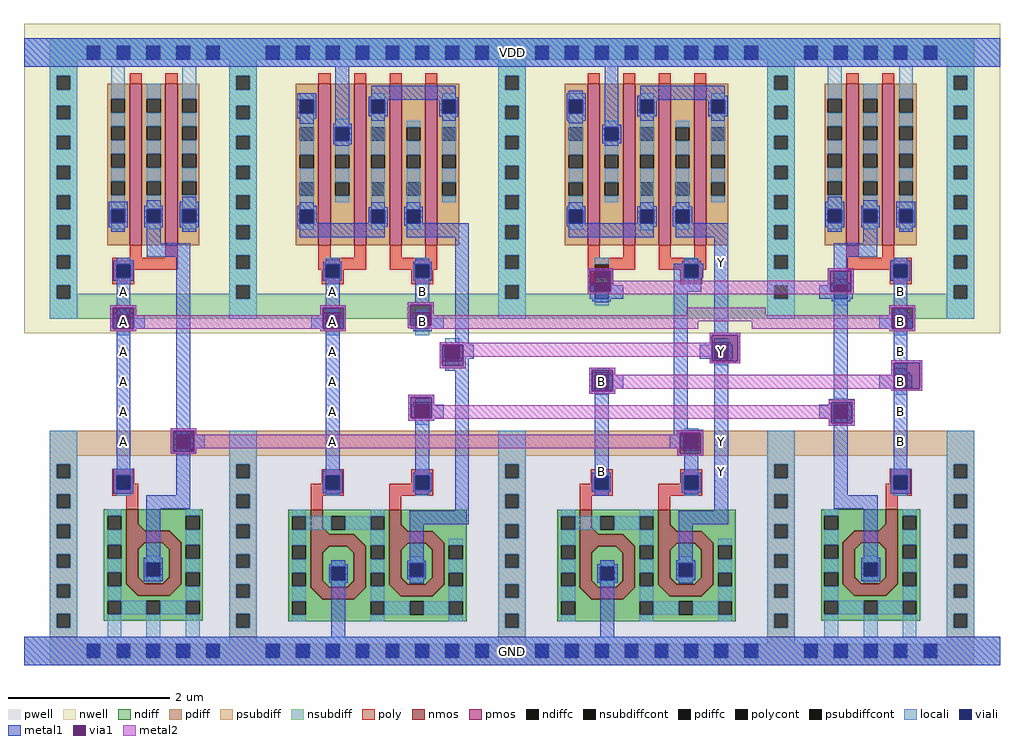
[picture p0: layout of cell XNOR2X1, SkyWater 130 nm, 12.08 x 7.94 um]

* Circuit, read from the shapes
.subckt XNOR2X1 Y A B VDD GND
XM1 GND A n1 GND sky130_fd_pr__nfet_01v8 w=2.56 l=0.1473
XM2 n2 A GND GND sky130_fd_pr__nfet_01v8 w=2.6 l=0.1497
XM3 n2 n3 Y GND sky130_fd_pr__nfet_01v8 w=2.56 l=0.1467
XM4 n4 B GND GND sky130_fd_pr__nfet_01v8 w=2.6 l=0.1483
XM5 n4 n1 Y GND sky130_fd_pr__nfet_01v8 w=2.56 l=0.1465
XM6 GND B n3 GND sky130_fd_pr__nfet_01v8 w=2.56 l=0.1475
XM7 n1 A VDD VDD sky130_fd_pr__pfet_01v8 w=2 l=0.15 m=2
XM8 VDD A n5 VDD sky130_fd_pr__pfet_01v8 w=2 l=0.15 m=2
XM9 Y B n5 VDD sky130_fd_pr__pfet_01v8 w=2 l=0.15 m=2
XM10 VDD n3 n6 VDD sky130_fd_pr__pfet_01v8 w=2 l=0.15 m=2
XM11 Y n1 n6 VDD sky130_fd_pr__pfet_01v8 w=2 l=0.15 m=2
XM12 n3 B VDD VDD sky130_fd_pr__pfet_01v8 w=2 l=0.15 m=2
.ends

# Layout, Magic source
magic
tech sky130A
magscale 1 2
<< nwell >>
rect 0 822 2416 1588
<< pwell >>
rect 155 19 189 53
rect 64 0 2352 9
<< psubdiff >>
rect 64 0 2352 9
<< nsubdiff >>
rect 64 1549 2352 1552
<< locali >>
rect 0 1482 2416 1552
rect 0 0 2416 70
<< metal1 >>
rect 0 1482 2416 1552
rect 1709 981 1743 1015
rect 229 907 263 941
rect 747 907 781 941
rect 969 907 1003 941
rect 2153 907 2187 941
rect 229 833 263 867
rect 747 833 781 867
rect 969 833 1003 867
rect 2153 833 2187 867
rect 229 759 263 793
rect 747 759 781 793
rect 1709 759 1743 793
rect 2153 759 2187 793
rect 229 685 263 719
rect 747 685 781 719
rect 1413 685 1447 719
rect 2153 685 2187 719
rect 229 611 263 645
rect 747 611 781 645
rect 2153 611 2187 645
rect 229 537 263 571
rect 747 537 781 571
rect 1709 537 1743 571
rect 2153 537 2187 571
rect 1413 463 1447 497
rect 1709 463 1743 497
rect 0 0 2416 70
use xnor2x1_pcell  xnor2x1_pcell_0
transform 1 0 98 0 1 36
box -87 -34 2307 1550
<< labels >>
rlabel metal1 1709 759 1743 793 1 Y
port 1 nsew signal output
rlabel metal1 1709 537 1743 571 1 Y
port 1 nsew signal output
rlabel metal1 1709 463 1743 497 1 Y
port 1 nsew signal output
rlabel metal1 1709 981 1743 1015 1 Y
port 1 nsew signal output
rlabel metal1 229 907 263 941 1 A
port 2 nsew signal input
rlabel metal1 229 833 263 867 1 A
port 2 nsew signal input
rlabel metal1 229 759 263 793 1 A
port 2 nsew signal input
rlabel metal1 229 685 263 719 1 A
port 2 nsew signal input
rlabel metal1 229 611 263 645 1 A
port 2 nsew signal input
rlabel metal1 229 537 263 571 1 A
port 2 nsew signal input
rlabel metal1 747 537 781 571 1 A
port 2 nsew signal input
rlabel metal1 747 611 781 645 1 A
port 2 nsew signal input
rlabel metal1 747 685 781 719 1 A
port 2 nsew signal input
rlabel metal1 747 759 781 793 1 A
port 2 nsew signal input
rlabel metal1 747 833 781 867 1 A
port 2 nsew signal input
rlabel metal1 747 907 781 941 1 A
port 2 nsew signal input
rlabel metal1 2153 685 2187 719 1 B
port 3 nsew signal input
rlabel metal1 2153 611 2187 645 1 B
port 3 nsew signal input
rlabel metal1 2153 759 2187 793 1 B
port 3 nsew signal input
rlabel metal1 2153 537 2187 571 1 B
port 3 nsew signal input
rlabel metal1 2153 833 2187 867 1 B
port 3 nsew signal input
rlabel metal1 2153 907 2187 941 1 B
port 3 nsew signal input
rlabel metal1 969 833 1003 867 1 B
port 3 nsew signal input
rlabel metal1 1413 685 1447 719 1 B
port 3 nsew signal input
rlabel metal1 1413 463 1447 497 1 B
port 3 nsew signal input
rlabel metal1 969 907 1003 941 1 B
port 3 nsew signal input
rlabel metal1 0 1482 2416 1552 1 VDD
port 4 nsew power bidirectional abutment
rlabel metal1 0 0 2416 70 1 GND
port 5 nsew ground bidirectional abutment
<< properties >>
string FIXED_BBOX 0 0 2416 1552
string LEFclass CORE
string LEFsite unitrh
string LEFsymmetry X Y
<< end >>

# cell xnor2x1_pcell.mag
magic
tech sky130A
magscale 1 2
<< nwell >>
rect 531 1532 1689 1550
rect 528 1514 1026 1532
rect 1194 1514 1692 1532
rect 478 1446 1076 1514
rect 1144 1446 1742 1514
rect 528 1439 1026 1446
rect 528 968 539 1439
rect 585 1330 619 1364
rect 1015 968 1026 1439
rect 528 825 1026 968
rect 1194 1440 1692 1446
rect 1194 968 1205 1440
rect 1681 968 1692 1440
rect 1194 825 1692 968
rect 531 786 1689 825
<< pwell >>
rect -34 -34 2254 544
<< pdiff >>
rect 761 1092 795 1194
rect 1427 1092 1461 1194
rect 761 1042 795 1058
rect 1427 1042 1461 1058
<< pdiffc >>
rect 585 1330 619 1364
rect 761 1330 795 1364
rect 937 1330 971 1364
rect 1251 1330 1285 1364
rect 1427 1330 1461 1364
rect 1603 1330 1637 1364
rect 585 1058 619 1092
rect 761 1058 795 1092
rect 849 1058 883 1092
rect 1251 1058 1285 1092
rect 1427 1058 1461 1092
rect 1515 1058 1549 1092
<< psubdiff >>
rect 478 482 1079 544
rect 1141 482 1742 544
rect 478 -17 501 17
rect 535 -17 575 17
rect 609 -17 649 17
rect 683 -17 723 17
rect 757 -17 797 17
rect 831 -17 871 17
rect 905 -17 945 17
rect 979 -17 1019 17
rect 1053 -17 1076 17
rect 478 -34 1076 -17
rect 1144 -17 1167 17
rect 1201 -17 1241 17
rect 1275 -17 1315 17
rect 1349 -17 1389 17
rect 1423 -17 1463 17
rect 1497 -17 1537 17
rect 1571 -17 1611 17
rect 1645 -17 1685 17
rect 1719 -17 1742 17
rect 1144 -34 1742 -17
<< nsubdiff >>
rect 478 1497 1076 1514
rect 478 1463 501 1497
rect 535 1463 575 1497
rect 609 1463 649 1497
rect 683 1463 723 1497
rect 757 1463 797 1497
rect 831 1463 871 1497
rect 905 1463 945 1497
rect 979 1463 1019 1497
rect 1053 1463 1076 1497
rect 1144 1497 1742 1514
rect 1144 1463 1167 1497
rect 1201 1463 1241 1497
rect 1275 1463 1315 1497
rect 1349 1463 1389 1497
rect 1423 1463 1463 1497
rect 1497 1463 1537 1497
rect 1571 1463 1611 1497
rect 1645 1463 1685 1497
rect 1719 1463 1742 1497
rect 478 822 1079 884
rect 1141 822 1742 884
<< psubdiffcont >>
rect 501 -17 535 17
rect 575 -17 609 17
rect 649 -17 683 17
rect 723 -17 757 17
rect 797 -17 831 17
rect 871 -17 905 17
rect 945 -17 979 17
rect 1019 -17 1053 17
rect 1167 -17 1201 17
rect 1241 -17 1275 17
rect 1315 -17 1349 17
rect 1389 -17 1423 17
rect 1463 -17 1497 17
rect 1537 -17 1571 17
rect 1611 -17 1645 17
rect 1685 -17 1719 17
<< nsubdiffcont >>
rect 501 1463 535 1497
rect 575 1463 609 1497
rect 649 1463 683 1497
rect 723 1463 757 1497
rect 797 1463 831 1497
rect 871 1463 905 1497
rect 945 1463 979 1497
rect 1019 1463 1053 1497
rect 1167 1463 1201 1497
rect 1241 1463 1275 1497
rect 1315 1463 1349 1497
rect 1389 1463 1423 1497
rect 1463 1463 1497 1497
rect 1537 1463 1571 1497
rect 1611 1463 1645 1497
rect 1685 1463 1719 1497
<< poly >>
rect 612 383 639 413
rect 806 383 861 413
rect 1278 383 1305 413
rect 1472 383 1527 413
rect 612 375 642 383
rect 806 382 836 383
rect 1278 375 1308 383
rect 1472 382 1502 383
<< locali >>
rect 127 1497 1754 1514
rect 127 1463 501 1497
rect 535 1463 575 1497
rect 609 1463 649 1497
rect 683 1463 723 1497
rect 757 1463 797 1497
rect 831 1463 871 1497
rect 905 1463 945 1497
rect 979 1463 1019 1497
rect 1053 1463 1167 1497
rect 1201 1463 1241 1497
rect 1275 1463 1315 1497
rect 1349 1463 1389 1497
rect 1423 1463 1463 1497
rect 1497 1463 1537 1497
rect 1571 1463 1611 1497
rect 1645 1463 1685 1497
rect 1719 1463 1754 1497
rect 127 1446 1754 1463
rect 585 1364 619 1380
rect 585 1228 619 1330
rect 761 1364 795 1380
rect 673 1296 707 1317
rect 673 1228 707 1262
rect 761 1228 795 1330
rect 937 1364 971 1380
rect 937 1228 971 1330
rect 1251 1364 1285 1380
rect 1251 1228 1285 1330
rect 1427 1364 1461 1380
rect 1427 1228 1461 1330
rect 1603 1364 1637 1380
rect 1603 1228 1637 1330
rect 585 1092 619 1194
rect 585 1042 619 1058
rect 761 1092 795 1194
rect 761 1042 795 1058
rect 849 1092 883 1194
rect 849 1042 883 1058
rect 1251 1092 1285 1111
rect 1251 1042 1285 1058
rect 1427 1092 1461 1194
rect 1427 1041 1461 1058
rect 1515 1092 1549 1194
rect 1515 1042 1549 1058
rect 387 17 1827 34
rect 387 -17 501 17
rect 535 -17 575 17
rect 609 -17 649 17
rect 683 -17 723 17
rect 757 -17 797 17
rect 831 -17 871 17
rect 905 -17 945 17
rect 979 -17 1019 17
rect 1053 -17 1167 17
rect 1201 -17 1241 17
rect 1275 -17 1315 17
rect 1349 -17 1389 17
rect 1423 -17 1463 17
rect 1497 -17 1537 17
rect 1571 -17 1611 17
rect 1645 -17 1685 17
rect 1719 -17 1827 17
rect 387 -34 1827 -17
<< viali >>
rect 501 1463 535 1497
rect 575 1463 609 1497
rect 649 1463 683 1497
rect 723 1463 757 1497
rect 797 1463 831 1497
rect 871 1463 905 1497
rect 945 1463 979 1497
rect 1019 1463 1053 1497
rect 1167 1463 1201 1497
rect 1241 1463 1275 1497
rect 1315 1463 1349 1497
rect 1389 1463 1423 1497
rect 1463 1463 1497 1497
rect 1537 1463 1571 1497
rect 1611 1463 1645 1497
rect 1685 1463 1719 1497
rect 585 1330 619 1364
rect 761 1330 795 1364
rect 673 1262 707 1296
rect 937 1330 971 1364
rect 1251 1330 1285 1364
rect 1427 1330 1461 1364
rect 1339 1262 1373 1296
rect 1603 1330 1637 1364
rect 585 1058 619 1092
rect 761 1058 795 1092
rect 849 1058 883 1092
rect 1251 1058 1285 1092
rect 1427 1058 1461 1092
rect 1515 1058 1549 1092
rect 131 923 165 957
rect 649 923 683 957
rect 871 923 905 957
rect 1537 923 1571 957
rect 649 399 683 433
rect 871 399 905 433
rect 1315 399 1349 433
rect 1537 399 1571 433
rect 663 174 697 208
rect 857 183 891 217
rect 1329 174 1363 208
rect 1523 183 1557 217
rect 501 -17 535 17
rect 575 -17 609 17
rect 649 -17 683 17
rect 723 -17 757 17
rect 797 -17 831 17
rect 871 -17 905 17
rect 945 -17 979 17
rect 1019 -17 1053 17
rect 1167 -17 1201 17
rect 1241 -17 1275 17
rect 1315 -17 1349 17
rect 1389 -17 1423 17
rect 1463 -17 1497 17
rect 1537 -17 1571 17
rect 1611 -17 1645 17
rect 1685 -17 1719 17
<< metal1 >>
rect 478 1497 1076 1514
rect 478 1463 501 1497
rect 535 1463 575 1497
rect 609 1463 649 1497
rect 683 1463 723 1497
rect 757 1463 797 1497
rect 831 1463 871 1497
rect 905 1463 945 1497
rect 979 1463 1019 1497
rect 1053 1463 1076 1497
rect 478 1446 1076 1463
rect 1144 1497 1742 1514
rect 1144 1463 1167 1497
rect 1201 1463 1241 1497
rect 1275 1463 1315 1497
rect 1349 1463 1389 1497
rect 1423 1463 1463 1497
rect 1497 1463 1537 1497
rect 1571 1463 1611 1497
rect 1645 1463 1685 1497
rect 1719 1463 1742 1497
rect 1144 1446 1742 1463
rect 579 1364 626 1380
rect 579 1330 585 1364
rect 619 1330 626 1364
rect 579 1317 626 1330
rect 585 1305 619 1317
rect 673 1304 707 1446
rect 761 1371 971 1398
rect 1251 1380 1285 1386
rect 755 1370 971 1371
rect 755 1364 977 1370
rect 755 1330 761 1364
rect 795 1330 802 1364
rect 755 1323 802 1330
rect 930 1330 937 1364
rect 971 1330 977 1364
rect 761 1312 795 1323
rect 930 1322 977 1330
rect 1245 1364 1292 1380
rect 1245 1330 1251 1364
rect 1285 1330 1292 1364
rect 937 1312 971 1322
rect 1245 1312 1292 1330
rect 1251 1306 1285 1312
rect 667 1296 713 1304
rect 1339 1302 1373 1446
rect 1427 1374 1637 1398
rect 1420 1364 1644 1374
rect 1420 1330 1427 1364
rect 1461 1330 1468 1364
rect 1420 1323 1468 1330
rect 1596 1330 1603 1364
rect 1637 1330 1644 1364
rect 1596 1323 1644 1330
rect 1427 1312 1461 1323
rect 1603 1312 1637 1323
rect 667 1262 673 1296
rect 707 1262 713 1296
rect 667 1254 713 1262
rect 1333 1296 1380 1302
rect 1333 1262 1339 1296
rect 1373 1262 1380 1296
rect 1333 1256 1380 1262
rect 673 1250 707 1254
rect 1339 1250 1373 1256
rect 585 1101 619 1110
rect 579 1092 627 1101
rect 761 1098 795 1110
rect 849 1099 883 1110
rect 1251 1100 1285 1110
rect 1427 1100 1461 1110
rect 1515 1100 1549 1110
rect 579 1058 585 1092
rect 619 1058 627 1092
rect 755 1092 802 1098
rect 755 1058 761 1092
rect 795 1058 802 1092
rect 579 1050 802 1058
rect 843 1092 889 1099
rect 843 1058 849 1092
rect 883 1058 889 1092
rect 1245 1092 1291 1100
rect 1245 1058 1251 1092
rect 1285 1058 1291 1092
rect 1420 1092 1468 1100
rect 1420 1058 1427 1092
rect 1461 1058 1468 1092
rect 843 1052 1003 1058
rect 579 1045 795 1050
rect 585 1024 795 1045
rect 849 1024 1003 1052
rect 1245 1049 1468 1058
rect 1508 1092 1556 1100
rect 1508 1058 1515 1092
rect 1549 1058 1556 1092
rect 1508 1049 1645 1058
rect 1251 1024 1461 1049
rect 1515 1024 1645 1049
rect 131 965 165 969
rect 123 957 173 965
rect 649 963 683 969
rect 871 963 905 969
rect 123 923 131 957
rect 165 923 173 957
rect 123 916 173 923
rect 643 957 689 963
rect 643 923 649 957
rect 683 923 689 957
rect 643 916 689 923
rect 865 957 911 963
rect 865 923 871 957
rect 905 923 911 957
rect 865 916 911 923
rect 131 855 165 916
rect 649 855 683 916
rect 871 862 905 916
rect 852 856 916 862
rect 116 849 180 855
rect 116 797 122 849
rect 174 797 180 849
rect 116 791 180 797
rect 635 849 699 855
rect 635 797 641 849
rect 693 797 699 849
rect 852 804 858 856
rect 910 804 916 856
rect 852 798 916 804
rect 635 791 699 797
rect 131 731 165 791
rect 265 545 329 551
rect 265 493 271 545
rect 323 493 329 545
rect 265 487 329 493
rect 649 446 683 791
rect 969 763 1003 1024
rect 1537 965 1571 970
rect 1531 958 1577 965
rect 1511 957 1583 958
rect 1297 941 1361 947
rect 1297 889 1303 941
rect 1355 889 1361 941
rect 1297 883 1361 889
rect 1511 923 1537 957
rect 1571 923 1583 957
rect 1511 889 1579 923
rect 1315 862 1349 883
rect 931 757 1003 763
rect 931 705 937 757
rect 989 723 995 757
rect 989 705 1003 723
rect 931 699 1003 705
rect 945 693 1003 699
rect 853 627 917 633
rect 853 575 859 627
rect 911 609 917 627
rect 853 569 917 575
rect 641 433 691 446
rect 871 441 905 569
rect 641 399 649 433
rect 683 399 691 433
rect 641 390 691 399
rect 865 433 911 441
rect 865 399 871 433
rect 905 399 911 433
rect 865 393 911 399
rect 649 387 683 390
rect 871 386 905 393
rect 969 347 1003 693
rect 1301 694 1365 700
rect 1301 642 1307 694
rect 1359 642 1365 694
rect 1301 636 1365 642
rect 1315 441 1349 636
rect 1511 547 1545 889
rect 1611 787 1645 1024
rect 1892 941 1956 947
rect 1892 889 1898 941
rect 1950 889 1956 941
rect 1892 883 1956 889
rect 1900 871 1905 883
rect 2044 849 2108 855
rect 2044 797 2050 849
rect 2102 797 2108 849
rect 2044 791 2108 797
rect 1599 781 1675 787
rect 1599 717 1605 781
rect 1669 717 1675 781
rect 1599 711 1675 717
rect 2049 713 2125 719
rect 1511 540 1583 547
rect 1511 534 1525 540
rect 1519 488 1525 534
rect 1577 488 1583 540
rect 1519 483 1583 488
rect 1537 441 1571 483
rect 1308 433 1355 441
rect 1308 399 1315 433
rect 1349 399 1355 433
rect 1308 393 1355 399
rect 1530 433 1579 441
rect 1530 399 1537 433
rect 1571 399 1579 433
rect 1315 383 1349 393
rect 1530 391 1579 399
rect 1537 387 1571 391
rect 1611 347 1645 711
rect 2049 649 2055 713
rect 2119 649 2125 713
rect 2049 643 2125 649
rect 1894 615 1958 622
rect 1894 609 1900 615
rect 1894 563 1900 578
rect 1952 563 1958 615
rect 1894 557 1958 563
rect 857 313 1003 347
rect 1523 313 1645 347
rect 663 214 697 224
rect 857 223 891 313
rect 1523 224 1557 313
rect 851 217 897 223
rect 657 208 704 214
rect 657 174 663 208
rect 697 174 704 208
rect 851 183 857 217
rect 891 183 897 217
rect 1329 214 1363 224
rect 1516 217 1563 224
rect 851 177 897 183
rect 1321 208 1372 214
rect 657 168 704 174
rect 663 34 697 168
rect 857 167 891 177
rect 1321 174 1329 208
rect 1363 174 1372 208
rect 1516 183 1523 217
rect 1557 183 1563 217
rect 1516 175 1563 183
rect 1321 168 1372 174
rect 1329 34 1363 168
rect 1523 167 1557 175
rect 478 17 1076 34
rect 478 -17 501 17
rect 535 -17 575 17
rect 609 -17 649 17
rect 683 -17 723 17
rect 757 -17 797 17
rect 831 -17 871 17
rect 905 -17 945 17
rect 979 -17 1019 17
rect 1053 -17 1076 17
rect 478 -34 1076 -17
rect 1144 17 1742 34
rect 1144 -17 1167 17
rect 1201 -17 1241 17
rect 1275 -17 1315 17
rect 1349 -17 1389 17
rect 1423 -17 1463 17
rect 1497 -17 1537 17
rect 1571 -17 1611 17
rect 1645 -17 1685 17
rect 1719 -17 1742 17
rect 1144 -34 1742 -17
<< via1 >>
rect 122 797 174 849
rect 641 797 693 849
rect 858 804 910 856
rect 271 493 323 545
rect 1303 889 1355 941
rect 937 705 989 757
rect 859 575 911 627
rect 1307 642 1359 694
rect 1898 889 1950 941
rect 2050 797 2102 849
rect 1605 717 1669 781
rect 1525 488 1577 540
rect 2055 649 2119 713
rect 1900 563 1952 615
<< metal2 >>
rect 1297 941 1361 947
rect 1297 889 1303 941
rect 1355 916 1361 941
rect 1892 941 1956 947
rect 1892 916 1898 941
rect 1355 889 1898 916
rect 1950 889 1956 941
rect 1297 883 1956 889
rect 852 856 916 862
rect 116 849 180 855
rect 116 797 122 849
rect 174 831 180 849
rect 635 849 699 855
rect 635 831 641 849
rect 174 797 641 831
rect 693 797 699 849
rect 852 804 858 856
rect 910 831 916 856
rect 2044 849 2108 855
rect 1543 831 1738 849
rect 2044 831 2050 849
rect 910 815 2050 831
rect 910 804 1571 815
rect 852 798 1571 804
rect 911 797 1571 798
rect 1703 797 2050 815
rect 2102 797 2108 849
rect 116 791 180 797
rect 635 791 699 797
rect 2044 791 2108 797
rect 1599 781 1675 787
rect 931 762 995 763
rect 1599 762 1605 781
rect 931 757 1605 762
rect 931 705 937 757
rect 989 728 1605 757
rect 989 705 995 728
rect 1599 717 1605 728
rect 1669 717 1675 781
rect 1599 711 1675 717
rect 2049 713 2125 719
rect 931 699 995 705
rect 1301 694 1365 700
rect 1301 642 1307 694
rect 1359 683 1365 694
rect 2049 683 2055 713
rect 1359 649 2055 683
rect 2119 649 2125 713
rect 1359 642 1365 649
rect 2049 643 2125 649
rect 1301 636 1365 642
rect 853 627 917 633
rect 853 575 859 627
rect 911 608 917 627
rect 1894 615 1958 621
rect 1894 608 1900 615
rect 911 575 1900 608
rect 853 574 1900 575
rect 853 569 917 574
rect 1894 563 1900 574
rect 1952 563 1958 615
rect 1894 557 1958 563
rect 265 545 329 551
rect 265 493 271 545
rect 323 535 329 545
rect 1519 540 1583 546
rect 1519 535 1525 540
rect 323 501 1525 535
rect 323 493 329 501
rect 265 487 329 493
rect 1519 488 1525 501
rect 1577 488 1583 540
rect 1519 482 1583 488
use diff_ring_side  diff_ring_side_0
transform 1 0 1110 0 1 0
box -87 -34 87 1550
use diff_ring_side  diff_ring_side_1
transform 1 0 444 0 1 0
box -87 -34 87 1550
use diff_ring_side  diff_ring_side_3
transform 1 0 1776 0 1 0
box -87 -34 87 1550
use invx1_pcell  invx1_pcell_0
transform 1 0 0 0 1 0
box -87 -34 531 1550
use invx1_pcell  invx1_pcell_1
transform -1 0 2220 0 1 0
box -87 -34 531 1550
use li1_M1_contact  li1_M1_contact_0
transform 1 0 666 0 1 814
box -53 -33 29 33
use li1_M1_contact  li1_M1_contact_1
transform -1 0 148 0 -1 814
box -53 -33 29 33
use li1_M1_contact  li1_M1_contact_2
transform 1 0 1924 0 1 592
box -53 -33 29 33
use li1_M1_contact  li1_M1_contact_3
transform -1 0 888 0 -1 814
box -53 -33 29 33
use li1_M1_contact  li1_M1_contact_4
transform -1 0 296 0 -1 518
box -53 -33 29 33
use li1_M1_contact  li1_M1_contact_5
transform 1 0 1554 0 1 518
box -53 -33 29 33
use li1_M1_contact  li1_M1_contact_6
transform -1 0 1332 0 -1 888
box -53 -33 29 33
use li1_M1_contact  li1_M1_contact_7
transform -1 0 962 0 -1 740
box -53 -33 29 33
use li1_M1_contact  li1_M1_contact_8
transform 1 0 1628 0 1 740
box -53 -33 29 33
use li1_M1_contact  li1_M1_contact_9
transform -1 0 888 0 -1 592
box -53 -33 29 33
use li1_M1_contact  li1_M1_contact_10
transform 1 0 2072 0 1 814
box -53 -33 29 33
use li1_M1_contact  li1_M1_contact_11
transform -1 0 1332 0 -1 666
box -53 -33 29 33
use li1_M1_contact  li1_M1_contact_12
transform 1 0 1924 0 1 888
box -53 -33 29 33
use li1_M1_contact  li1_M1_contact_13
transform 1 0 2072 0 1 666
box -53 -33 29 33
use nmos_bottom  nmos_bottom_0
transform -1 0 804 0 1 73
box 0 0 248 302
use nmos_bottom  nmos_bottom_1
transform -1 0 1470 0 1 73
box 0 0 248 302
use nmos_top_trim1  nmos_top_trim1_0
transform -1 0 998 0 1 73
box 0 0 248 309
use nmos_top_trim1  nmos_top_trim1_1
transform -1 0 1664 0 1 73
box 0 0 248 309
use pmos2_1  pmos2_1_0
transform 1 0 487 0 1 1403
box 52 -460 352 37
use pmos2_1  pmos2_1_1
transform 1 0 663 0 1 1403
box 52 -460 352 37
use pmos2_1  pmos2_1_2
transform 1 0 1153 0 1 1403
box 52 -460 352 37
use pmos2_1  pmos2_1_3
transform 1 0 1329 0 1 1403
box 52 -460 352 37
use poly_li1_contact  poly_li1_contact_0
transform 0 1 667 -1 0 941
box -32 -28 34 26
use poly_li1_contact  poly_li1_contact_1
transform 0 1 667 -1 0 417
box -32 -28 34 26
use poly_li1_contact  poly_li1_contact_2
transform 0 1 889 -1 0 417
box -32 -28 34 26
use poly_li1_contact  poly_li1_contact_3
transform 0 1 889 -1 0 941
box -32 -28 34 26
use poly_li1_contact  poly_li1_contact_4
transform 0 1 1333 -1 0 417
box -32 -28 34 26
use poly_li1_contact  poly_li1_contact_5
transform 0 1 1333 -1 0 941
box -32 -28 34 26
use poly_li1_contact  poly_li1_contact_6
transform 0 1 1555 -1 0 417
box -32 -28 34 26
use poly_li1_contact  poly_li1_contact_7
transform 0 1 1555 -1 0 941
box -32 -28 34 26
<< end >>

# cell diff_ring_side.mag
magic
tech sky130A
magscale 1 2
<< nwell >>
rect -87 786 87 1550
<< pwell >>
rect -34 -34 34 544
<< psubdiff >>
rect -34 461 34 544
rect -34 427 -17 461
rect 17 427 34 461
rect -34 387 34 427
rect -34 353 -17 387
rect 17 353 34 387
rect -34 313 34 353
rect -34 279 -17 313
rect 17 279 34 313
rect -34 239 34 279
rect -34 205 -17 239
rect 17 205 34 239
rect -34 165 34 205
rect -34 131 -17 165
rect 17 131 34 165
rect -34 91 34 131
rect -34 57 -17 91
rect 17 57 34 91
rect -34 -34 34 57
<< nsubdiff >>
rect -34 1423 34 1514
rect -34 1389 -17 1423
rect 17 1389 34 1423
rect -34 1349 34 1389
rect -34 1315 -17 1349
rect 17 1315 34 1349
rect -34 1275 34 1315
rect -34 1241 -17 1275
rect 17 1241 34 1275
rect -34 1201 34 1241
rect -34 1167 -17 1201
rect 17 1167 34 1201
rect -34 1127 34 1167
rect -34 1093 -17 1127
rect 17 1093 34 1127
rect -34 1053 34 1093
rect -34 1019 -17 1053
rect 17 1019 34 1053
rect -34 979 34 1019
rect -34 945 -17 979
rect 17 945 34 979
rect -34 905 34 945
rect -34 871 -17 905
rect 17 871 34 905
rect -34 822 34 871
<< psubdiffcont >>
rect -17 427 17 461
rect -17 353 17 387
rect -17 279 17 313
rect -17 205 17 239
rect -17 131 17 165
rect -17 57 17 91
<< nsubdiffcont >>
rect -17 1389 17 1423
rect -17 1315 17 1349
rect -17 1241 17 1275
rect -17 1167 17 1201
rect -17 1093 17 1127
rect -17 1019 17 1053
rect -17 945 17 979
rect -17 871 17 905
<< locali >>
rect -34 1423 34 1514
rect -34 1389 -17 1423
rect 17 1389 34 1423
rect -34 1349 34 1389
rect -34 1315 -17 1349
rect 17 1315 34 1349
rect -34 1275 34 1315
rect -34 1241 -17 1275
rect 17 1241 34 1275
rect -34 1201 34 1241
rect -34 1167 -17 1201
rect 17 1167 34 1201
rect -34 1127 34 1167
rect -34 1093 -17 1127
rect 17 1093 34 1127
rect -34 1053 34 1093
rect -34 1019 -17 1053
rect 17 1019 34 1053
rect -34 979 34 1019
rect -34 945 -17 979
rect 17 945 34 979
rect -34 905 34 945
rect -34 871 -17 905
rect 17 871 34 905
rect -34 822 34 871
rect -34 461 34 544
rect -34 427 -17 461
rect 17 427 34 461
rect -34 387 34 427
rect -34 353 -17 387
rect 17 353 34 387
rect -34 313 34 353
rect -34 279 -17 313
rect 17 279 34 313
rect -34 239 34 279
rect -34 205 -17 239
rect 17 205 34 239
rect -34 165 34 205
rect -34 131 -17 165
rect 17 131 34 165
rect -34 91 34 131
rect -34 57 -17 91
rect 17 57 34 91
rect -34 -34 34 57
<< metal1 >>
rect -34 1446 34 1514
rect -34 -34 34 34
<< end >>

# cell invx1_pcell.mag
magic
tech sky130A
magscale 1 2
<< nwell >>
rect -87 786 531 1550
<< pwell >>
rect -34 -34 478 544
<< pdiffc >>
rect 118 1059 152 1093
rect 206 1059 240 1093
rect 294 1059 328 1093
<< psubdiff >>
rect 34 482 410 544
rect 34 -17 57 17
rect 91 -17 131 17
rect 165 -17 205 17
rect 239 -17 279 17
rect 313 -17 353 17
rect 387 -17 410 17
rect 34 -34 410 -17
<< nsubdiff >>
rect 34 1497 410 1514
rect 34 1463 57 1497
rect 91 1463 131 1497
rect 165 1463 205 1497
rect 239 1463 279 1497
rect 313 1463 353 1497
rect 387 1463 410 1497
rect 34 822 410 884
<< psubdiffcont >>
rect 57 -17 91 17
rect 131 -17 165 17
rect 205 -17 239 17
rect 279 -17 313 17
rect 353 -17 387 17
<< nsubdiffcont >>
rect 57 1463 91 1497
rect 131 1463 165 1497
rect 205 1463 239 1497
rect 279 1463 313 1497
rect 353 1463 387 1497
<< poly >>
rect 155 381 185 413
<< locali >>
rect -34 1497 478 1514
rect -34 1463 57 1497
rect 91 1463 131 1497
rect 165 1463 205 1497
rect 239 1463 279 1497
rect 313 1463 353 1497
rect 387 1463 478 1497
rect -34 1446 478 1463
rect 118 1093 152 1117
rect 118 1043 152 1059
rect 206 1093 240 1117
rect 206 1043 240 1059
rect 294 1093 328 1117
rect 294 1043 328 1059
rect 109 34 143 84
rect 205 34 239 90
rect 303 34 337 90
rect -34 17 466 34
rect -34 -17 57 17
rect 91 -17 131 17
rect 165 -17 205 17
rect 239 -17 279 17
rect 313 -17 353 17
rect 387 -17 466 17
rect -34 -34 466 -17
<< viali >>
rect 57 1463 91 1497
rect 131 1463 165 1497
rect 205 1463 239 1497
rect 279 1463 313 1497
rect 353 1463 387 1497
rect 118 1059 152 1093
rect 206 1059 240 1093
rect 294 1059 328 1093
rect 131 923 165 957
rect 131 400 165 434
rect 205 184 239 218
rect 57 -17 91 17
rect 131 -17 165 17
rect 205 -17 239 17
rect 279 -17 313 17
rect 353 -17 387 17
<< metal1 >>
rect -34 1497 478 1514
rect -34 1463 57 1497
rect 91 1463 131 1497
rect 165 1463 205 1497
rect 239 1463 279 1497
rect 313 1463 353 1497
rect 387 1463 478 1497
rect -34 1446 478 1463
rect 112 1093 159 1111
rect 206 1101 240 1115
rect 294 1111 328 1124
rect 112 1059 118 1093
rect 152 1059 159 1093
rect 112 1048 159 1059
rect 200 1093 246 1101
rect 200 1059 206 1093
rect 240 1059 246 1093
rect 200 1048 246 1059
rect 288 1093 335 1111
rect 288 1059 294 1093
rect 328 1059 335 1093
rect 288 1048 335 1059
rect 118 1037 152 1048
rect 206 1009 240 1048
rect 294 1037 328 1048
rect 206 975 313 1009
rect 131 966 165 973
rect 124 957 174 966
rect 124 923 131 957
rect 165 923 174 957
rect 124 916 174 923
rect 131 450 165 916
rect 123 434 173 450
rect 123 400 131 434
rect 165 400 173 434
rect 123 388 173 400
rect 279 385 313 975
rect 205 351 313 385
rect 205 230 239 351
rect 198 218 246 230
rect 198 184 205 218
rect 239 184 246 218
rect 198 172 246 184
rect -34 17 478 34
rect -34 -17 57 17
rect 91 -17 131 17
rect 165 -17 205 17
rect 239 -17 279 17
rect 313 -17 353 17
rect 387 -17 478 17
rect -34 -34 478 -17
use diff_ring_side  diff_ring_side_0
transform 1 0 444 0 1 0
box -87 -34 87 1550
use diff_ring_side  diff_ring_side_1
transform 1 0 0 0 1 0
box -87 -34 87 1550
use nmos_top  nmos_top_0
transform -1 0 345 0 1 74
box 0 0 246 308
use pmos2  pmos2_0
transform 1 0 20 0 1 1404
box 52 -461 352 42
use poly_li1_contact  poly_li1_contact_0
transform 0 1 149 -1 0 941
box -32 -28 34 26
use poly_li1_contact  poly_li1_contact_1
transform 0 -1 147 1 0 416
box -32 -28 34 26
<< end >>

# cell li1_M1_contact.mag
magic
tech sky130A
magscale 1 2
<< locali >>
rect -17 17 17 33
rect -17 -33 17 -17
<< viali >>
rect -17 -17 17 17
<< metal1 >>
rect -23 17 23 23
rect -53 -17 -17 17
rect 17 -17 29 17
rect -23 -23 23 -17
<< end >>

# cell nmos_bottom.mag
magic
tech sky130A
magscale 1 2
<< nmos >>
tri 146 215 162 231 se
rect 162 215 192 276
tri 56 185 86 215 se
rect 86 185 192 215
rect 56 84 86 185
tri 86 169 102 185 nw
tri 146 169 162 185 ne
tri 86 84 102 100 sw
tri 146 84 162 100 se
rect 162 84 192 185
tri 56 54 86 84 ne
rect 86 54 162 84
tri 162 54 192 84 nw
<< ndiff >>
rect 0 260 162 276
rect 0 226 10 260
rect 44 226 107 260
rect 141 231 162 260
rect 141 226 146 231
rect 0 215 146 226
tri 146 215 162 231 nw
rect 192 260 248 276
rect 192 226 204 260
rect 238 226 248 260
rect 0 188 56 215
rect 0 154 10 188
rect 44 154 56 188
tri 56 185 86 215 nw
rect 192 188 248 226
rect 0 120 56 154
rect 0 86 10 120
rect 44 86 56 120
rect 0 54 56 86
tri 86 169 102 185 se
rect 102 169 146 185
tri 146 169 162 185 sw
rect 86 135 162 169
rect 86 101 107 135
rect 141 101 162 135
rect 86 100 162 101
tri 86 84 102 100 ne
rect 102 84 146 100
tri 146 84 162 100 nw
rect 192 154 204 188
rect 238 154 248 188
rect 192 120 248 154
rect 192 86 204 120
rect 238 86 248 120
tri 56 54 86 84 sw
tri 162 54 192 84 se
rect 192 54 248 86
rect 0 50 248 54
rect 0 16 10 50
rect 44 16 204 50
rect 238 16 248 50
rect 0 0 248 16
<< ndiffc >>
rect 10 226 44 260
rect 107 226 141 260
rect 204 226 238 260
rect 10 154 44 188
rect 10 86 44 120
rect 107 101 141 135
rect 204 154 238 188
rect 204 86 238 120
rect 10 16 44 50
rect 204 16 238 50
<< poly >>
rect 162 276 192 302
<< locali >>
rect 10 260 44 276
rect 204 260 238 276
rect 44 226 107 260
rect 141 226 204 260
rect 10 188 44 226
rect 10 120 44 154
rect 204 188 238 226
rect 10 50 44 86
rect 107 135 141 151
rect 107 85 141 101
rect 204 120 238 154
rect 10 0 44 16
rect 204 50 238 86
rect 204 0 238 16
<< end >>

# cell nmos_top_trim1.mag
magic
tech sky130
magscale 1 2
<< nmos >>
tri 146 223 162 239 se
rect 162 223 192 276
tri 56 193 86 223 se
rect 86 193 192 223
rect 56 92 86 193
tri 86 177 102 193 nw
tri 146 177 162 193 ne
tri 86 92 102 108 sw
tri 146 92 162 108 se
rect 162 92 192 193
tri 56 62 86 92 ne
rect 86 62 162 92
tri 162 62 192 92 nw
<< ndiff >>
rect 0 239 162 276
rect 0 223 146 239
tri 146 223 162 239 nw
rect 192 260 248 276
rect 192 226 204 260
rect 238 226 248 260
rect 0 188 56 223
tri 56 193 86 223 nw
rect 0 154 10 188
rect 44 154 56 188
rect 0 120 56 154
rect 0 86 10 120
rect 44 86 56 120
tri 86 177 102 193 se
rect 102 177 146 193
tri 146 177 162 193 sw
rect 86 144 162 177
rect 86 110 107 144
rect 141 110 162 144
rect 86 108 162 110
tri 86 92 102 108 ne
rect 102 92 146 108
tri 146 92 162 108 nw
rect 192 188 248 226
rect 192 154 204 188
rect 238 154 248 188
rect 192 120 248 154
rect 0 62 56 86
tri 56 62 86 92 sw
tri 162 62 192 92 se
rect 192 86 204 120
rect 238 86 248 120
rect 192 62 248 86
rect 0 50 248 62
rect 0 16 10 50
rect 44 16 107 50
rect 141 16 204 50
rect 238 16 248 50
rect 0 0 248 16
<< ndiffc >>
rect 204 226 238 260
rect 10 154 44 188
rect 10 86 44 120
rect 107 110 141 144
rect 204 154 238 188
rect 204 86 238 120
rect 10 16 44 50
rect 107 16 141 50
rect 204 16 238 50
<< poly >>
rect 162 276 192 309
<< locali >>
rect 204 260 238 276
rect 10 188 44 204
rect 204 188 238 226
rect 10 120 44 154
rect 107 144 141 161
rect 107 94 141 110
rect 204 120 238 154
rect 10 50 44 86
rect 204 50 238 86
rect 44 16 107 50
rect 141 16 204 50
rect 10 0 44 16
rect 204 0 238 16
<< end >>

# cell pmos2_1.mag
magic
tech sky130A
magscale 1 2
<< nwell >>
rect 52 -435 352 37
<< pmos >>
rect 144 -399 174 1
rect 232 -399 262 1
<< pdiff >>
rect 88 -107 144 1
rect 88 -141 98 -107
rect 132 -141 144 -107
rect 88 -175 144 -141
rect 88 -209 98 -175
rect 132 -209 144 -175
rect 88 -243 144 -209
rect 88 -277 98 -243
rect 132 -277 144 -243
rect 88 -399 144 -277
rect 174 -107 232 1
rect 174 -141 186 -107
rect 220 -141 232 -107
rect 174 -175 232 -141
rect 174 -209 186 -175
rect 220 -209 232 -175
rect 174 -243 232 -209
rect 174 -277 186 -243
rect 220 -277 232 -243
rect 174 -399 232 -277
rect 262 -107 316 1
rect 262 -141 274 -107
rect 308 -141 316 -107
rect 262 -175 316 -141
rect 262 -209 274 -175
rect 308 -209 316 -175
rect 262 -243 316 -209
rect 262 -277 274 -243
rect 308 -277 316 -243
rect 262 -399 316 -277
<< pdiffc >>
rect 98 -141 132 -107
rect 98 -209 132 -175
rect 98 -277 132 -243
rect 186 -141 220 -107
rect 186 -209 220 -175
rect 186 -277 220 -243
rect 274 -141 308 -107
rect 274 -209 308 -175
rect 274 -277 308 -243
<< poly >>
rect 144 1 174 27
rect 232 1 262 27
rect 144 -430 174 -399
rect 232 -430 262 -399
rect 144 -460 262 -430
<< locali >>
rect 98 -107 132 -91
rect 98 -175 132 -141
rect 98 -243 132 -209
rect 98 -293 132 -277
rect 186 -107 220 -91
rect 186 -175 220 -141
rect 186 -243 220 -209
rect 186 -293 220 -277
rect 274 -107 308 -91
rect 274 -175 308 -141
rect 274 -243 308 -209
rect 274 -293 308 -277
<< end >>

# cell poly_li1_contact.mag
magic
tech sky130
<< poly >>
rect -16 8 17 13
rect -16 -9 -8 8
rect 9 -9 17 8
rect -16 -14 17 -9
<< polycont >>
rect -8 -9 9 8
<< locali >>
rect -16 -9 -8 8
rect 9 -9 17 8
<< end >>

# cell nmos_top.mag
magic
tech sky130
magscale 1 2
<< nmos >>
tri 144 223 160 239 se
rect 160 223 190 276
tri 54 193 84 223 se
rect 84 193 190 223
rect 54 92 84 193
tri 84 177 100 193 nw
tri 144 177 160 193 ne
tri 84 92 100 108 sw
tri 144 92 160 108 se
rect 160 92 190 193
tri 54 62 84 92 ne
rect 84 62 160 92
tri 160 62 190 92 nw
<< ndiff >>
rect 0 260 160 276
rect 0 226 8 260
rect 42 239 160 260
rect 42 226 144 239
rect 0 223 144 226
tri 144 223 160 239 nw
rect 190 260 246 276
rect 190 226 202 260
rect 236 226 246 260
rect 0 188 54 223
tri 54 193 84 223 nw
rect 0 154 8 188
rect 42 154 54 188
rect 0 120 54 154
rect 0 86 8 120
rect 42 86 54 120
tri 84 177 100 193 se
rect 100 177 144 193
tri 144 177 160 193 sw
rect 84 144 160 177
rect 84 110 106 144
rect 140 110 160 144
rect 84 108 160 110
tri 84 92 100 108 ne
rect 100 92 144 108
tri 144 92 160 108 nw
rect 190 188 246 226
rect 190 154 202 188
rect 236 154 246 188
rect 190 120 246 154
rect 0 62 54 86
tri 54 62 84 92 sw
tri 160 62 190 92 se
rect 190 86 202 120
rect 236 86 246 120
rect 190 62 246 86
rect 0 50 246 62
rect 0 16 8 50
rect 42 16 106 50
rect 140 16 202 50
rect 236 16 246 50
rect 0 0 246 16
<< ndiffc >>
rect 8 226 42 260
rect 202 226 236 260
rect 8 154 42 188
rect 8 86 42 120
rect 106 110 140 144
rect 202 154 236 188
rect 202 86 236 120
rect 8 16 42 50
rect 106 16 140 50
rect 202 16 236 50
<< poly >>
rect 160 276 190 308
<< locali >>
rect 8 260 42 276
rect 8 188 42 226
rect 202 260 236 276
rect 202 188 236 226
rect 8 120 42 154
rect 106 144 140 161
rect 106 94 140 110
rect 202 120 236 154
rect 8 50 42 86
rect 202 50 236 86
rect 42 16 106 50
rect 140 16 202 50
rect 8 0 42 16
rect 202 0 236 16
<< end >>

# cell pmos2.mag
magic
tech sky130A
magscale 1 2
<< nwell >>
rect 52 -436 352 36
<< pmos >>
rect 144 -400 174 0
rect 232 -400 262 0
<< pdiff >>
rect 88 -38 144 0
rect 88 -72 98 -38
rect 132 -72 144 -38
rect 88 -106 144 -72
rect 88 -140 98 -106
rect 132 -140 144 -106
rect 88 -174 144 -140
rect 88 -208 98 -174
rect 132 -208 144 -174
rect 88 -242 144 -208
rect 88 -276 98 -242
rect 132 -276 144 -242
rect 88 -400 144 -276
rect 174 -38 232 0
rect 174 -72 186 -38
rect 220 -72 232 -38
rect 174 -106 232 -72
rect 174 -140 186 -106
rect 220 -140 232 -106
rect 174 -174 232 -140
rect 174 -208 186 -174
rect 220 -208 232 -174
rect 174 -242 232 -208
rect 174 -276 186 -242
rect 220 -276 232 -242
rect 174 -400 232 -276
rect 262 -38 316 0
rect 262 -72 274 -38
rect 308 -72 316 -38
rect 262 -106 316 -72
rect 262 -140 274 -106
rect 308 -140 316 -106
rect 262 -174 316 -140
rect 262 -208 274 -174
rect 308 -208 316 -174
rect 262 -242 316 -208
rect 262 -276 274 -242
rect 308 -276 316 -242
rect 262 -400 316 -276
<< pdiffc >>
rect 98 -72 132 -38
rect 98 -140 132 -106
rect 98 -208 132 -174
rect 98 -276 132 -242
rect 186 -72 220 -38
rect 186 -140 220 -106
rect 186 -208 220 -174
rect 186 -276 220 -242
rect 274 -72 308 -38
rect 274 -140 308 -106
rect 274 -208 308 -174
rect 274 -276 308 -242
<< poly >>
rect 144 0 174 26
rect 232 0 262 26
rect 144 -431 174 -400
rect 232 -431 262 -400
rect 144 -461 262 -431
<< locali >>
rect 98 -38 132 42
rect 98 -106 132 -72
rect 98 -174 132 -140
rect 98 -242 132 -208
rect 98 -293 132 -276
rect 186 -38 220 0
rect 186 -106 220 -72
rect 186 -174 220 -140
rect 186 -242 220 -208
rect 186 -293 220 -276
rect 274 -38 308 42
rect 274 -106 308 -72
rect 274 -174 308 -140
rect 274 -242 308 -208
rect 274 -293 308 -276
<< end >>
